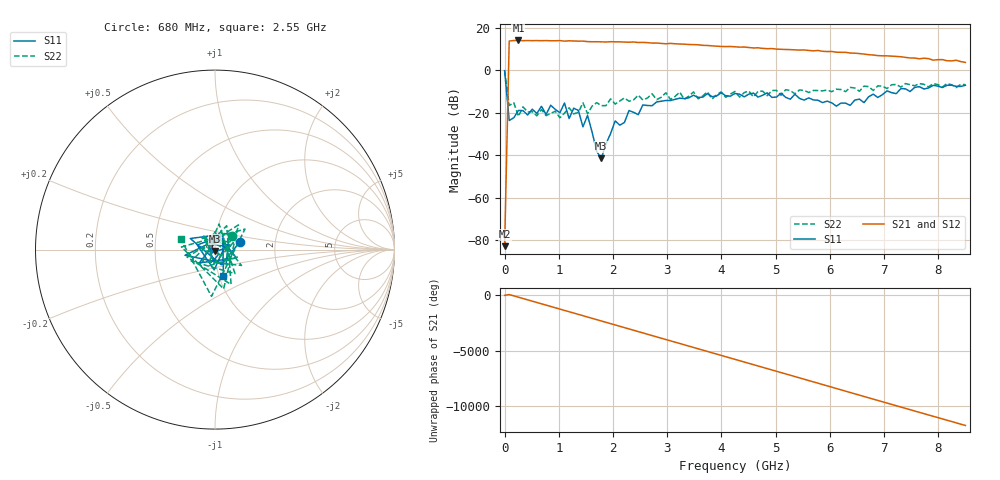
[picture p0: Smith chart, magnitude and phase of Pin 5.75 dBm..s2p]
! RsaToolbox (C) 2013 Rohde & Schwarz America
! Number of points: 101
! Number of ports: 2
! Balanced ports?: 0
# Hz S RI R 50
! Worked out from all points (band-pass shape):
!   101 points, 9 kHz to 8.5 GHz, reference 50 ohm
!   highest |S21| = 14.14 dB at 255 MHz (marker M1); lowest = -82.9 dB at 9 kHz (marker M2)
!   |S21| within 3 dB of the highest: 82.62 MHz to 4.257 GHz (4.174 GHz wide, 192 % of centre)
!   lowest |S11| = -41.5 dB at 1.785 GHz (marker M3), VSWR 1.02, Z = 50.1 - j0.835 ohm
!   |S11| at or under -10 dB: 35.74 MHz to 7.038 GHz (7.003 GHz wide, 198 % of centre); 7.09 GHz to 7.259 GHz (168.5 MHz wide, 2.35 % of centre)
!   |S22| runs from -22.3 to 0.0 dB; largest |S21 - S12| = 0
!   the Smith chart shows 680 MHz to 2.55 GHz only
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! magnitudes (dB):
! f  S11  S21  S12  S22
! 9 kHz  -0.1  -82.9  -82.9  0.0
! 85.01 MHz  -23.6  13.9  13.9  -16.6
! 170 MHz  -22.3  14.1  14.1  -15.2
! 255 MHz  -18.9  14.1  14.1  -21.7
! 340 MHz  -19.0  14.0  14.0  -17.2
! 765 MHz  -20.8  14.1  14.1  -21.3
! 850 MHz  -16.4  14.0  14.0  -20.3
! 1.02 GHz  -19.9  14.1  14.1  -22.3
! 1.105 GHz  -15.4  13.8  13.8  -20.1
! 1.19 GHz  -22.7  14.0  14.0  -17.6
! 1.36 GHz  -18.8  13.8  13.8  -19.8
! 1.445 GHz  -26.6  13.8  13.8  -15.3
! 1.53 GHz  -21.2  13.6  13.6  -20.4
! 1.7 GHz  -38.3  13.5  13.5  -15.2
! 1.785 GHz  -41.5  13.5  13.5  -16.6
! 2.04 GHz  -23.8  13.5  13.5  -15.9
! 2.89 GHz  -14.5  12.7  12.7  -12.7
! 4.25 GHz  -10.8  11.1  11.1  -9.9
! 5.695 GHz  -13.9  9.2  9.2  -9.5
! 6.375 GHz  -16.5  8.2  8.2  -8.0
! 7.14 GHz  -10.5  6.7  6.7  -6.8
! 8.5 GHz  -7.0  3.8  3.8  -6.7
